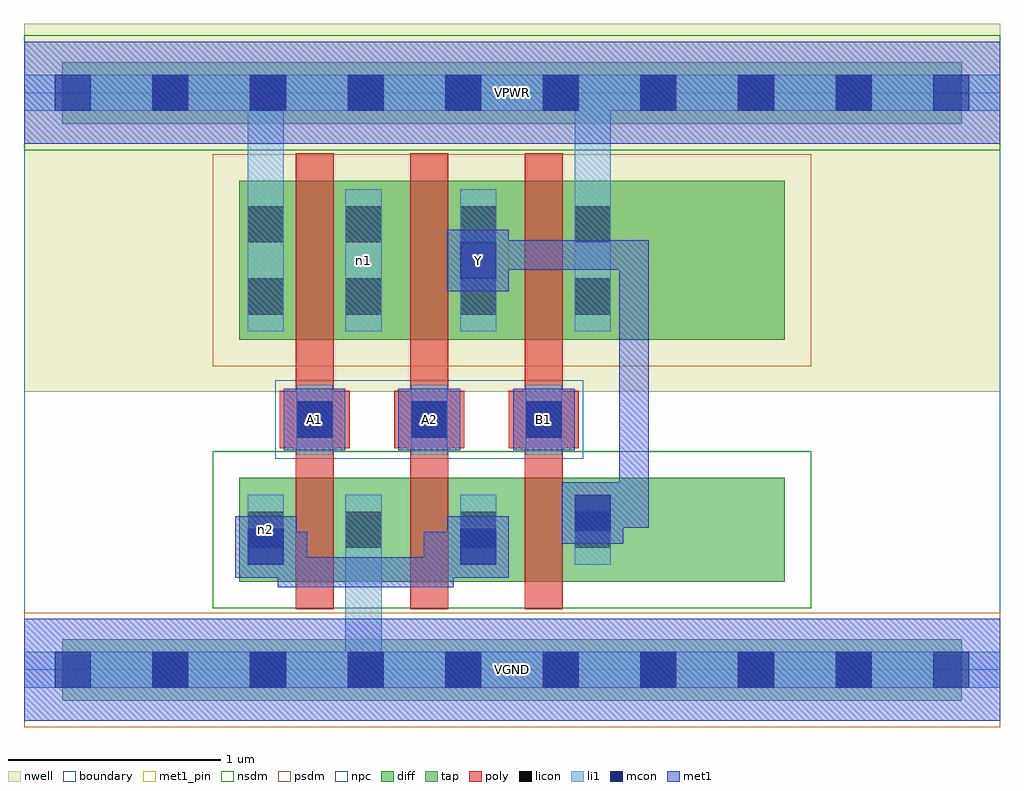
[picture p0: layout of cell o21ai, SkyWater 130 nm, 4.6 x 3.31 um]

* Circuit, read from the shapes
.subckt o21ai A1 A2 B1 VGND VPWR Y n1 n2
XM1 VGND A1 n2 VGND sky130_fd_pr__nfet_01v8 w=0.49 l=0.18
XM2 n2 A2 VGND VGND sky130_fd_pr__nfet_01v8 w=0.49 l=0.18
XM3 Y B1 n2 VGND sky130_fd_pr__nfet_01v8 w=0.49 l=0.18
XM4 n1 A1 VPWR VPWR sky130_fd_pr__pfet_01v8 w=0.75 l=0.18
XM5 Y A2 n1 VPWR sky130_fd_pr__pfet_01v8 w=0.75 l=0.18
XM6 VPWR B1 Y VPWR sky130_fd_pr__pfet_01v8 w=0.75 l=0.18
.ends

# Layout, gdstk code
import gdstk
lib = gdstk.Library(unit=1e-6, precision=1e-09)
def R(c, l, rs):  # rectangles x0, y0, x1, y1
    for r in rs: c.add(gdstk.rectangle(r[:2], r[2:], *l))
def A(c, l, x, y, w, h, nx, ny, dx, dy):  # array of equal rectangles
    R(c, l, [(x+i*dx, y+j*dy, x+i*dx+w, y+j*dy+h) for i in range(nx) for j in range(ny)])
nwell = (64, 20)
diff = (65, 20)
tap = (65, 44)
poly = (66, 20)
licon = (66, 44)
li1 = (67, 20)
mcon = (67, 44)
met1_pin = (68, 16)
met1 = (68, 20)
nsdm = (93, 44)
psdm = (94, 20)
npc = (95, 20)
boundary = (235, 4)

o21ai = lib.new_cell('o21ai')
R(o21ai, nwell, [(0,1.31,4.6,3.045)])
R(o21ai, diff, [(1.015,0.415,3.585,0.905), (1.015,1.555,3.585,2.305)])
R(o21ai, tap, [(0.18,-0.145,4.42,0.145), (0.18,2.575,4.42,2.865)])
A(o21ai, poly, 1.28, 0.285, 0.18, 2.15, 3, 1, 0.54, 0)
A(o21ai, poly, 1.205, 1.045, 0.33, 0.27, 3, 1, 0.54, 0)
A(o21ai, licon, 0.605, -0.085, 0.17, 0.17, 8, 2, 0.46, 2.72)
A(o21ai, licon, 1.515, 0.575, 0.17, 0.17, 3, 2, 0.54, 1.1)
A(o21ai, licon, 1.285, 1.095, 0.17, 0.17, 3, 1, 0.54, 0)
A(o21ai, licon, 1.515, 2.015, 0.17, 0.17, 3, 1, 0.54, 0)
R(o21ai, licon, [(1.055,0.575,1.225,0.745), (1.055,1.675,1.225,1.845), (1.055,2.015,1.225,2.185)])
A(o21ai, li1, 1.515, 0.495, 0.17, 0.33, 3, 1, 0.54, 0)
A(o21ai, li1, 1.285, 1.015, 0.17, 0.33, 3, 1, 0.54, 0)
A(o21ai, li1, 1.515, 1.595, 0.17, 0.67, 3, 1, 0.54, 0)
R(o21ai, li1, [(0,-0.085,4.6,0.085), (1.515,-0.085,1.685,0.825), (1.055,0.495,1.225,0.825), (1.055,1.595,1.225,2.265), (1.055,1.595,1.225,2.805), (2.595,1.595,2.765,2.805), (0,2.635,4.6,2.805)])
A(o21ai, mcon, 0.145, -0.085, 0.17, 0.17, 10, 2, 0.46, 2.72)
A(o21ai, mcon, 1.285, 1.095, 0.17, 0.17, 3, 1, 0.54, 0)
R(o21ai, mcon, [(1.055,0.495,1.225,0.665), (2.055,0.495,2.225,0.665), (2.595,0.655,2.765,0.825), (2.055,1.845,2.225,2.015)])
A(o21ai, met1_pin, 1.225, 1.035, 0.29, 0.29, 3, 1, 0.54, 0)
R(o21ai, met1_pin, [(0,-0.24,4.6,0.24), (1.995,1.785,2.285,2.075), (0,2.48,4.6,2.96)])
A(o21ai, met1, 1.225, 1.035, 0.29, 0.29, 3, 1, 0.54, 0)
R(o21ai, met1, [(0,-0.24,4.6,0.24), (1.195,0.39,1.335,0.65), (1.195,0.39,2.025,0.53), (1.885,0.39,2.025,0.65), (0.995,0.435,1.285,0.725), (1.995,0.435,2.285,0.725), (1.07,0.51,1.335,0.65), (1.885,0.51,2.21,0.65), (2.535,0.595,2.825,0.885), (2.61,0.67,2.945,0.81), (2.805,0.67,2.945,0.99), (2.805,0.85,2.945,2.025), (1.995,1.785,2.285,2.075), (2.115,1.885,2.945,2.025), (2.115,1.885,2.255,2.025), (0,2.48,4.6,2.96)])
R(o21ai, nsdm, [(0.89,0.29,3.71,1.03), (0,2.45,4.6,2.99)])
R(o21ai, psdm, [(0,-0.27,4.6,0.27), (0.89,1.43,3.71,2.43)])
R(o21ai, npc, [(1.185,0.995,2.635,1.365)])
R(o21ai, boundary, [(0,0,4.6,2.72)])
o21ai.add(gdstk.Label('n2', (1.14,0.66), layer=67, texttype=5))
o21ai.add(gdstk.Label('n1', (1.6,1.93), layer=67, texttype=5))
o21ai.add(gdstk.Label('A1', (1.37,1.18), layer=68, texttype=5))
o21ai.add(gdstk.Label('A2', (1.91,1.18), layer=68, texttype=5))
o21ai.add(gdstk.Label('B1', (2.45,1.18), layer=68, texttype=5))
o21ai.add(gdstk.Label('Y', (2.14,1.93), layer=68, texttype=5))
o21ai.add(gdstk.Label('VPWR', (2.3,2.72), layer=68, texttype=5))
o21ai.add(gdstk.Label('VGND', (2.3,0), layer=68, texttype=5))
o21ai.add(gdstk.Label('A1', (1.37,1.18), layer=68, texttype=16))
o21ai.add(gdstk.Label('A2', (1.91,1.18), layer=68, texttype=16))
o21ai.add(gdstk.Label('B1', (2.45,1.18), layer=68, texttype=16))
o21ai.add(gdstk.Label('Y', (2.14,1.93), layer=68, texttype=16))
o21ai.add(gdstk.Label('VPWR', (2.3,2.72), layer=68, texttype=16))
o21ai.add(gdstk.Label('VGND', (2.3,0), layer=68, texttype=16))

lib.write_gds('o21ai.gds')
